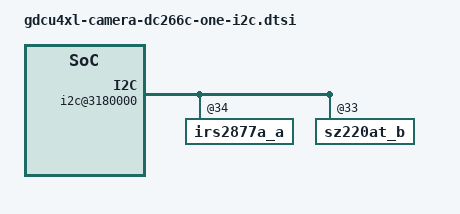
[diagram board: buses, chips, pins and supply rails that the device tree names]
/*
 * Copyright (c) 2018-2021, NVIDIA CORPORATION.  All rights reserved.
 *
 * This program is free software; you can redistribute it and/or modify it
 * under the terms and conditions of the GNU General Public License,
 * version 2, as published by the Free Software Foundation.
 *
 * This program is distributed in the hope it will be useful, but WITHOUT
 * ANY WARRANTY; without even the implied warranty of MERCHANTABILITY or
 * FITNESS FOR A PARTICULAR PURPOSE.  See the GNU General Public License for
 * more details.
 *
 * You should have received a copy of the GNU General Public License
 * along with this program.  If not, see <http://www.gnu.org/licenses/>.
 */
#include <t234-common-modules/gdcu4xl-camera-dc266c_one.dtsi>


/* camera control gpio definitions */

/ {
	/*i2c 0*/
	i2c@3180000 {
		irs2877a_a@34 {
			def-addr = <0x34>;
		};
				
		sz220at_b@33 {
			def-addr = <0x33>;
		};
	};
};
